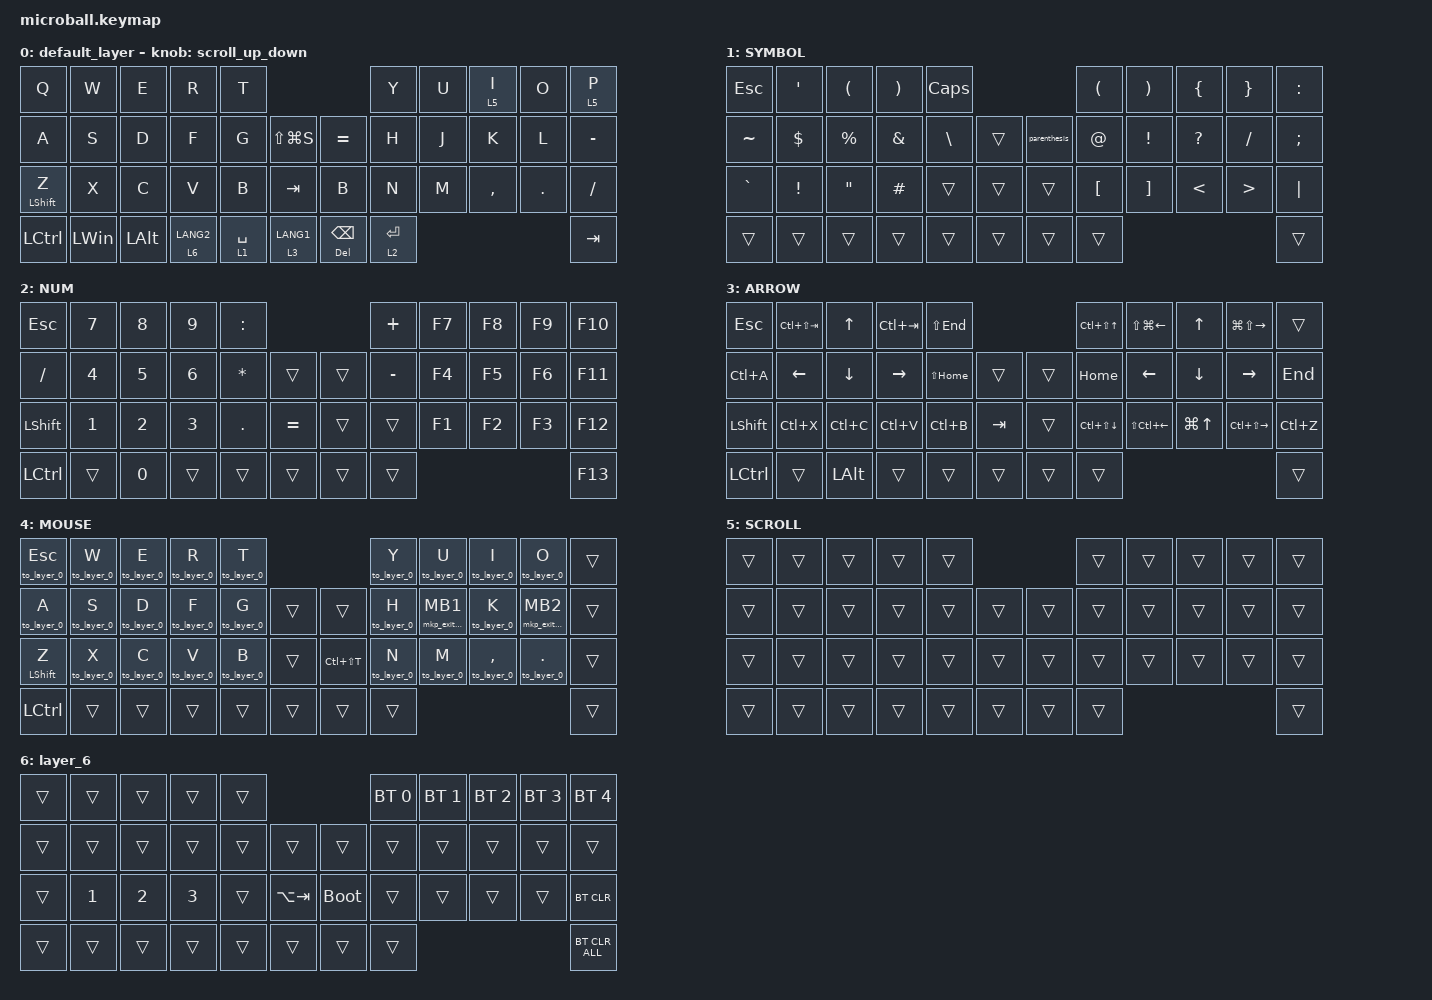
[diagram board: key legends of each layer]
#include <input/processors.dtsi>
#include <behaviors.dtsi>
#include <dt-bindings/zmk/bt.h>
#include <dt-bindings/zmk/keys.h>
#include <dt-bindings/zmk/pointing.h>

#define MOUSE 4
#define SCROLL 5
#define NUM 6
#define ZMK_POINTING_DEFAULT_SCRL_VAL 15

&mt {
    flavor = "balanced";
    quick-tap-ms = <0>;
};

/ {
    combos {
        compatible = "zmk,combos";

        tab {
            bindings = <&kp TAB>;
            key-positions = <11 12>;
        };

        shift_tab {
            bindings = <&kp LS(TAB)>;
            key-positions = <12 13>;
        };

        muhennkann {
            bindings = <&to_layer_0 INT_MUHENKAN>;
            key-positions = <11 10>;
        };

        default_ESC {
            bindings = <&kp ESC>;
            key-positions = <0 1>;
        };

        m1 {
            bindings = <&kp LC(LA(NUMBER_1))>;
            key-positions = <18 19>;
        };

        m2 {
            bindings = <&kp LA(LC(NUMBER_2))>;
            key-positions = <19 20>;
        };

        m3 {
            bindings = <&kp LA(LC(NUMBER_3))>;
            key-positions = <30 31>;
        };

        m4 {
            bindings = <&kp LA(LC(NUMBER_4))>;
            key-positions = <31 32>;
        };

        m5 {
            bindings = <&tog 4>;
            key-positions = <18 19 20>;
        };

        m0 {
            bindings = <&kp LC(LA(N0))>;
            key-positions = <20 21>;
        };

        back {
            bindings = <&kp LA(LEFT_ARROW)>;
            key-positions = <23 24>;
        };

        toward {
            bindings = <&kp LA(RIGHT_ARROW)>;
            key-positions = <25 24>;
        };

        stepback {
            bindings = <&kp LC(Z)>;
            key-positions = <2 1>;
        };
    };

    macros {
        to_layer_0: to_layer_0 {
            compatible = "zmk,behavior-macro-one-param";
            #binding-cells = <1>;
            bindings = <&to 0 &macro_param_1to1 &kp MACRO_PLACEHOLDER>;
            label = "TO_LAYER_0";
        };

        mkp_exit_AML: mkp_exit_AML {
            compatible = "zmk,behavior-macro-one-param";
            #binding-cells = <1>;
            bindings =
                <&macro_press>,
                <&macro_param_1to1 &mkp MACRO_PLACEHOLDER>,
                <&macro_pause_for_release>,
                <&macro_release>,
                <&macro_param_1to1 &mkp MACRO_PLACEHOLDER>,
                <&macro_tap>,
                <&sl 4>;

            label = "MKP_EXIT_AML";
        };

        parenthesis: parenthesis {
            compatible = "zmk,behavior-macro";
            #binding-cells = <0>;
            bindings = <&kp LANG1 &kp LEFT_PARENTHESIS &kp RIGHT_PARENTHESIS &kp LEFT_ARROW>;
            label = "parenthesis";
        };
    };

    behaviors {
        lt_to_layer_0: lt_to_layer_0 {
            compatible = "zmk,behavior-hold-tap";
            label = "LAYER_TAP_TO_0";
            bindings = <&mo>, <&to_layer_0>;

            #binding-cells = <2>;
            tapping-term-ms = <200>;
        };

        scroll_up_down: behavior_sensor_rotate_mouse_wheel_up_down {
            compatible = "zmk,behavior-sensor-rotate";
            #sensor-binding-cells = <0>;
            bindings = <&msc SCRL_DOWN>, <&msc SCRL_UP>;

            // 追加: スクロールのタップ時間を設定 (20ms)

            tap-ms = <100>;
        };
    };

    keymap {
        compatible = "zmk,keymap";

        default_layer {
            bindings = <
&kp Q             &kp W         &kp E         &kp R        &kp T                                              &kp Y        &kp U  &lt 5 I    &kp O    &lt 5 P
&kp A             &kp S         &kp D         &kp F        &kp G        &kp LS(LG(S))      &kp EQUAL          &kp H        &kp J  &kp K      &kp L    &kp MINUS
&mt LEFT_SHIFT Z  &kp X         &kp C         &kp V        &kp B        &kp TAB            &kp B              &kp N        &kp M  &kp COMMA  &kp DOT  &kp SLASH
&kp LCTRL         &kp LEFT_WIN  &kp LEFT_ALT  &lt 6 LANG2  &lt 1 SPACE  &lt 3 LANG1        &mt DEL BACKSPACE  &lt 2 ENTER                             &kp TAB
            >;

            sensor-bindings = <&scroll_up_down>;
        };

        SYMBOL {
            bindings = <
&kp ESCAPE  &kp SQT          &kp LEFT_PARENTHESIS  &kp RIGHT_PARENTHESIS  &kp CAPS                                 &kp LEFT_PARENTHESIS  &kp RIGHT_PARENTHESIS  &kp LEFT_BRACE  &kp RIGHT_BRACE   &kp COLON
&kp TILDE   &kp DOLLAR       &kp PERCENT           &kp AMPERSAND          &kp BACKSLASH  &trans      &parenthesis  &kp AT_SIGN           &kp EXCLAMATION        &kp QUESTION    &kp SLASH         &kp SEMI
&kp GRAVE   &kp EXCLAMATION  &kp DOUBLE_QUOTES     &kp HASH               &trans         &trans      &trans        &kp LEFT_BRACKET      &kp RIGHT_BRACKET      &kp LESS_THAN   &kp GREATER_THAN  &kp PIPE
&trans      &trans           &trans                &trans                 &trans         &trans      &trans        &trans                                                                         &trans
            >;
        };

        NUM {
            bindings = <
&kp ESCAPE      &kp N7        &kp N8        &kp N9        &kp COLON                            &kp PLUS   &kp F7  &kp F8  &kp F9  &kp F10
&kp SLASH       &kp NUMBER_4  &kp N5        &kp NUMBER_6  &kp ASTERISK  &trans         &trans  &kp MINUS  &kp F4  &kp F5  &kp F6  &kp F11
&kp LEFT_SHIFT  &kp NUMBER_1  &kp NUMBER_2  &kp NUMBER_3  &kp PERIOD    &kp EQUAL      &trans  &trans     &kp F1  &kp F2  &kp F3  &kp F12
&kp LCTRL       &trans        &kp N0        &trans        &trans        &trans         &trans  &trans                             &kp F13
            >;
        };

        ARROW {
            bindings = <
&kp ESCAPE      &kp LC(LS(TAB))  &kp UP_ARROW    &kp LC(TAB)      &kp LS(END)                        &kp LC(LS(UP_ARROW))  &kp LS(LG(LEFT_ARROW))  &kp UP      &kp LG(LS(RIGHT))  &trans
&kp LC(A)       &kp LEFT_ARROW   &kp DOWN_ARROW  &kp RIGHT_ARROW  &kp LS(HOME)  &trans       &trans  &kp HOME              &kp LEFT                &kp DOWN    &kp RIGHT          &kp END
&kp LEFT_SHIFT  &kp LC(X)        &kp LC(C)       &kp LC(V)        &kp LC(B)     &kp TAB      &trans  &kp LC(LS(DOWN))      &kp LS(LC(LEFT_ARROW))  &kp LG(UP)  &kp LC(LS(RIGHT))  &kp LC(Z)
&kp LCTRL       &trans           &kp LEFT_ALT    &trans           &trans        &trans       &trans  &trans                                                                       &trans
            >;
        };

        MOUSE {
            bindings = <
&to_layer_0 ESCAPE  &to_layer_0 W  &to_layer_0 E  &to_layer_0 R  &to_layer_0 T                             &to_layer_0 Y  &to_layer_0 U      &to_layer_0 I      &to_layer_0 O       &trans
&to_layer_0 A       &to_layer_0 S  &to_layer_0 D  &to_layer_0 F  &to_layer_0 G  &trans      &trans         &to_layer_0 H  &mkp_exit_AML MB1  &to_layer_0 K      &mkp_exit_AML MB2   &trans
&mt LEFT_SHIFT Z    &to_layer_0 X  &to_layer_0 C  &to_layer_0 V  &to_layer_0 B  &trans      &kp LC(LS(T))  &to_layer_0 N  &to_layer_0 M      &to_layer_0 COMMA  &to_layer_0 PERIOD  &trans
&kp LCTRL           &trans         &trans         &trans         &trans         &trans      &trans         &trans                                                                   &trans
            >;
        };

        SCROLL {
            bindings = <
&trans  &trans  &trans  &trans  &trans                      &trans  &trans  &trans  &trans  &trans
&trans  &trans  &trans  &trans  &trans  &trans      &trans  &trans  &trans  &trans  &trans  &trans
&trans  &trans  &trans  &trans  &trans  &trans      &trans  &trans  &trans  &trans  &trans  &trans
&trans  &trans  &trans  &trans  &trans  &trans      &trans  &trans                          &trans
            >;
        };

        layer_6 {
            bindings = <
&trans  &trans        &trans        &trans        &trans                                &bt BT_SEL 0  &bt BT_SEL 1  &bt BT_SEL 2  &bt BT_SEL 3  &bt BT_SEL 4
&trans  &trans        &trans        &trans        &trans  &trans           &trans       &trans        &trans        &trans        &trans        &trans
&trans  &kp NUMBER_1  &kp NUMBER_2  &kp NUMBER_3  &trans  &kp LA(TAB)      &bootloader  &trans        &trans        &trans        &trans        &bt BT_CLR
&trans  &trans        &trans        &trans        &trans  &trans           &trans       &trans                                                  &bt BT_CLR_ALL
            >;
        };
    };
};
